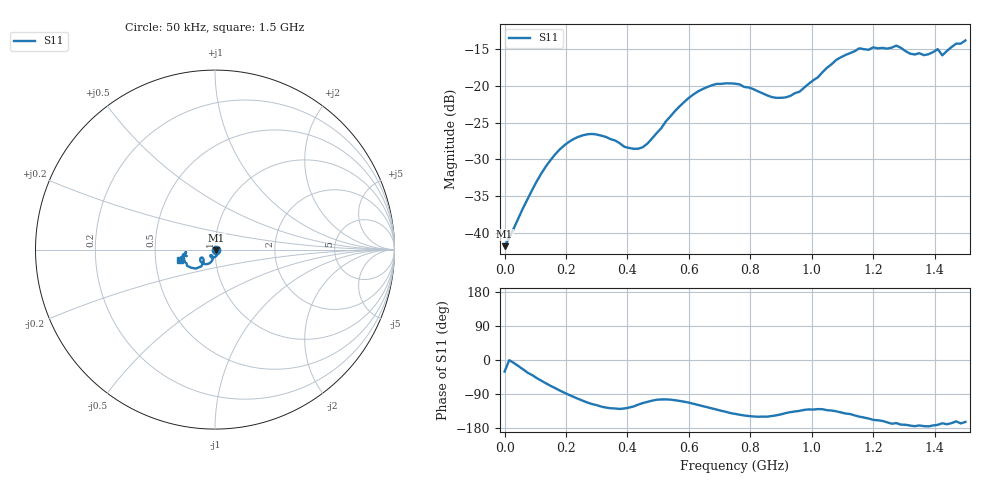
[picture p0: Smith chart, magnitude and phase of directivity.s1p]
! Created with skrf 1.8.0 (http://scikit-rf.org).
# Hz S RI R 50.0
!freq ReS11 ImS11
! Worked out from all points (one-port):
!   101 points, 50 kHz to 1.5 GHz, reference 50 ohm
!   lowest |S11| = -41.8 dB at 50 kHz (marker M1), VSWR 1.02, Z = 50.7 - j0.416 ohm
!   |S11| at or under -10 dB: start of sweep to end of sweep
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50000  0.007 -0.0041
1.20046e8  0.0147 -0.0208
1.650445e8  0.00921 -0.033
1.950435e8  0.00237 -0.0394
2.40042e8  -0.00987 -0.0439
2.850405e8  -0.0209 -0.0422
3.750375e8  -0.0256 -0.0315
4.20036e8  -0.0201 -0.0314
4.50035e8  -0.0153 -0.035
5.70031e8  -0.0225 -0.0691
6.150295e8  -0.0377 -0.0789
6.60028e8  -0.0558 -0.0808
7.50025e8  -0.0817 -0.0635
8.850205e8  -0.0686 -0.0464
9.450185e8  -0.064 -0.0621
1.020016e9  -0.0728 -0.0882
1.080014e9  -0.1073 -0.1054
1.125012e9  -0.1327 -0.1014
1.155012e9  -0.1552 -0.0915
1.245008e9  -0.1725 -0.0482
1.275008e9  -0.1827 -0.0439
1.320006e9  -0.1644 -0.0201
1.365004e9  -0.161 -0.0152
1.410003e9  -0.1756 -0.0274
1.425002e9  -0.1571 -0.0363
1.470001e9  -0.1843 -0.0599
1.485e9  -0.1892 -0.0422
1.5e9  -0.1951 -0.0582
